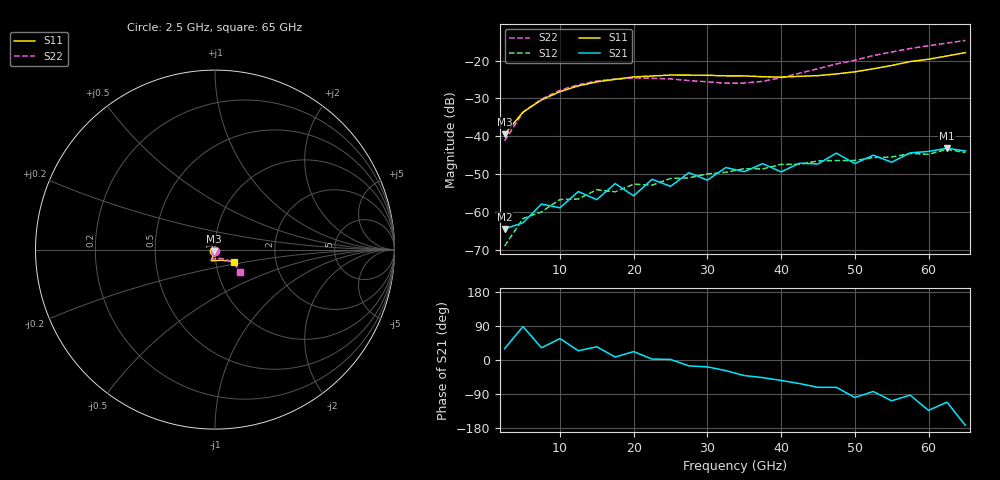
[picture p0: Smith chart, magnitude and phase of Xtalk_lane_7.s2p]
! File created by SignalIntegrity v1.5.1: Signal and Power Integrity Tools
! https://github.com/Nubis-Communications/SignalIntegrity
# MHz S MA R 50.0
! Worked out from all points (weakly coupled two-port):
!   26 points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, 2.5 GHz to 65 GHz, reference 50 ohm
!   highest |S21| = -43.20 dB at 62.5 GHz (marker M1); lowest = -64.5 dB at 2.5 GHz (marker M2)
!   lowest |S11| = -39.5 dB at 2.5 GHz (marker M3), VSWR 1.02, Z = 49.5 - j0.951 ohm
!   |S11| at or under -10 dB: start of sweep to end of sweep
!   |S22| runs from -41.2 to -14.7 dB; largest |S21 - S12| = 0.0037
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2500  0.01063 -115.3  0.0005945 30.1  0.0003506 85.5  0.008696 -80.1
5000  0.02087 -106.5  0.0007151 88.2  0.0008145 55.1  0.02081 -87.1
7500  0.03021 -105.5  0.001265 32.2  0.0009967 58.3  0.03101 -92.2
10000  0.0389 -106.2  0.001129 56.5  0.001451 36.2  0.04052 -96.5
12500  0.04632 -107.3  0.001853 24.5  0.001477 32.5  0.04807 -100.0
15000  0.05244 -108.7  0.001446 34.8  0.001956 25.3  0.05369 -103.3
17500  0.05657 -109.1  0.002365 7.9  0.00184 19.4  0.05706 -104.8
20000  0.06093 -109.7  0.001624 22.1  0.00232 11.8  0.05915 -106.3
22500  0.06261 -109.3  0.002688 2.5  0.002251 0.3  0.05832 -105.8
25000  0.06445 -108.5  0.002172 1.6  0.00276 -6.0  0.05745 -104.4
27500  0.06435 -107.0  0.003293 -15.5  0.002808 -15.9  0.05444 -101.0
30000  0.06408 -104.9  0.002622 -18.2  0.00318 -20.8  0.0525 -95.1
32500  0.06292 -101.7  0.003853 -28.0  0.003331 -33.8  0.05026 -87.4
35000  0.06283 -98.2  0.003397 -41.1  0.003724 -38.5  0.05057 -76.8
37500  0.06127 -92.8  0.004336 -46.5  0.003688 -47.2  0.05322 -66.3
45000  0.06338 -71.1  0.004292 -72.1  0.004708 -66.9  0.07837 -43.8
47500  0.06675 -64.2  0.005978 -72.1  0.004764 -80.2  0.09029 -40.8
50000  0.07117 -56.2  0.004346 -99.0  0.004772 -82.8  0.1013 -38.5
52500  0.07799 -51.1  0.005612 -83.1  0.005218 -101.3  0.1168 -36.9
55000  0.08634 -45.6  0.004529 -107.6  0.00531 -103.2  0.1302 -37.1
62500  0.1153 -33.9  0.006922 -111.2  0.006707 -130.2  0.1708 -40.2
65000  0.1278 -32.2  0.006378 -172.5  0.006075 -138.2  0.1851 -42.2
